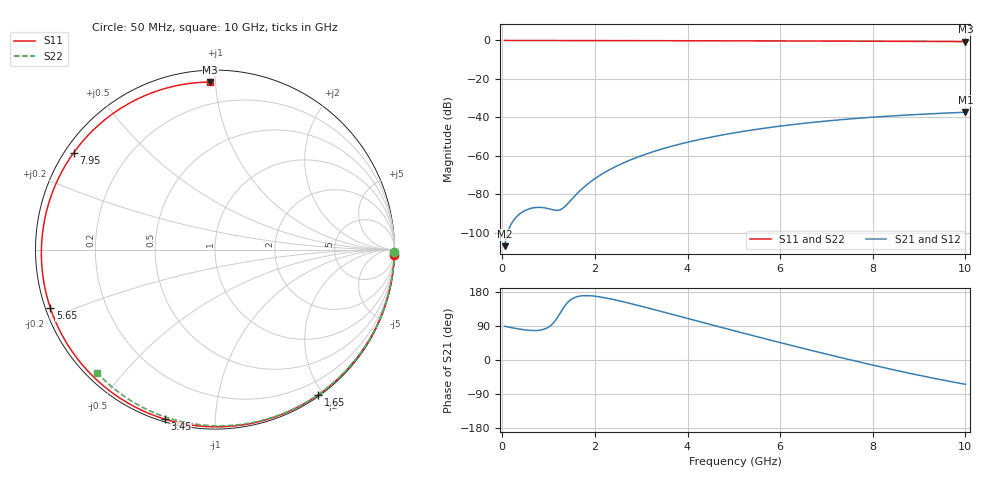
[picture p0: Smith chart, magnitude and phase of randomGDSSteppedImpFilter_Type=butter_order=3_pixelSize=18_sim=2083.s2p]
! freq	dB(S11)	phase(S11)	dB(S12)	phase(S12)
!  dB(S21)	phase(S21)	dB(S22)	phase(S22)
!S-par simulation data
#  GHz  S  DB  R 50
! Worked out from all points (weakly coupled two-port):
!   200 points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, 50 MHz to 10 GHz, reference 50 ohm
!   highest |S21| = -37.34 dB at 10 GHz (marker M1); lowest = -107.0 dB at 50 MHz (marker M2)
!   lowest |S11| = -0.6 dB at 10 GHz (marker M3), VSWR 29.25, Z = 3.32 + j48.5 ohm
!   |S11| at or under -10 dB: nowhere
!   |S22| runs from -0.4 to 0.0 dB; largest |S21 - S12| = 0
!   S11 on the Smith chart (normalised r, x): 50 MHz: 0, -67; 1.65 GHz: 0.02, -1.94; 3.45 GHz: 0.01, -0.75; 5.65 GHz: 0.01, -0.17; 7.95 GHz: 0.03, +0.31; 10 GHz: 0.07, +0.97
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0.05  -0.00 -1.7  -106.99 89.0  -106.99 89.0  -0.00 -0.8
0.4  -0.02 -13.6  -89.78 81.0  -89.78 81.0  -0.01 -6.2
0.8  -0.03 -27.0  -86.80 78.5  -86.80 78.5  -0.02 -12.3
1.2  -0.05 -40.2  -88.36 113.8  -88.36 113.8  -0.02 -18.4
1.6  -0.07 -53.0  -80.01 166.6  -80.01 166.6  -0.03 -24.5
1.65  -0.07 -54.5  -78.80 168.2  -78.80 168.2  -0.03 -25.2
1.75  -0.07 -57.7  -76.56 169.7  -76.56 169.7  -0.03 -26.7
2.05  -0.08 -66.9  -71.04 167.5  -71.04 167.5  -0.04 -31.2
2.45  -0.10 -78.7  -65.56 158.2  -65.56 158.2  -0.05 -37.1
2.9  -0.11 -91.5  -60.87 145.0  -60.87 145.0  -0.06 -43.7
3.4  -0.13 -105.2  -56.80 129.2  -56.80 129.2  -0.07 -50.8
3.45  -0.13 -106.5  -56.44 127.5  -56.44 127.5  -0.07 -51.6
4.25  -0.16 -127.0  -51.56 101.6  -51.56 101.6  -0.09 -62.7
5.05  -0.20 -146.3  -47.89 75.8  -47.89 75.8  -0.11 -73.5
5.65  -0.23 -160.4  -45.68 56.8  -45.68 56.8  -0.13 -81.4
6.2  -0.27 -173.1  -43.96 39.7  -43.96 39.7  -0.16 -88.4
6.7  -0.30 175.3  -42.62 24.5  -42.62 24.5  -0.18 -94.7
7.3  -0.35 161.2  -41.24 6.7  -41.24 6.7  -0.22 -102.0
7.95  -0.40 145.6  -39.99 -12.0  -39.99 -12.0  -0.26 -109.8
8.35  -0.44 135.7  -39.34 -23.1  -39.34 -23.1  -0.29 -114.6
9.2  -0.52 113.6  -38.20 -45.4  -38.20 -45.4  -0.37 -124.5
10  -0.59 91.7  -37.34 -64.2  -37.34 -64.2  -0.45 -133.7
